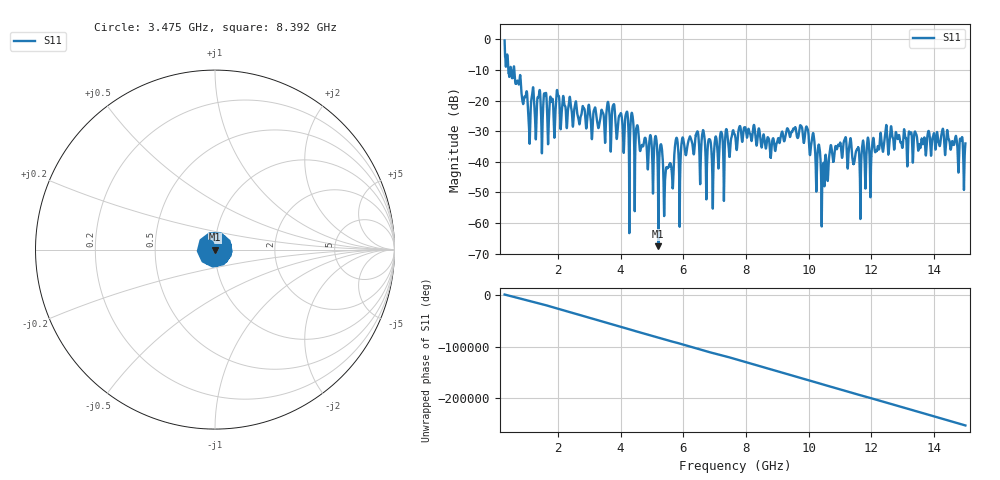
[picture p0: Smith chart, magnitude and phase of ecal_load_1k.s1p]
# GHZ S RI R 50.0
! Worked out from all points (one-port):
!   12801 points, 300 MHz to 15 GHz, reference 50 ohm
!   lowest |S11| = -67.5 dB at 5.204 GHz (marker M1), VSWR 1.00, Z = 50 - j0.0309 ohm
!   |S11| at or under -10 dB: 417.9 MHz to 482.1 MHz (64.24 MHz wide, 14.3 % of centre); 505.5 MHz to 582.4 MHz (76.94 MHz wide, 14.1 % of centre); 608.7 MHz to end of sweep
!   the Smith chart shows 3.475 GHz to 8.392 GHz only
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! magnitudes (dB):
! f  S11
! 300 MHz  -0.3
! 1.089 GHz  -32.1
! 1.197 GHz  -16.3
! 1.304 GHz  -30.8
! 1.392 GHz  -18.3
! 2.138 GHz  -21.7
! 3.975 GHz  -24.7
! 5.204 GHz  -67.5
! 5.297 GHz  -34.4
! 5.434 GHz  -43.5
! 5.812 GHz  -33.0
! 6.435 GHz  -30.3
! 6.745 GHz  -46.8
! 6.841 GHz  -32.7
! 6.939 GHz  -54.3
! 7.204 GHz  -30.2
! 7.65 GHz  -31.2
! 8.826 GHz  -34.2
! 9.488 GHz  -29.8
! 10.14 GHz  -30.6
! 10.45 GHz  -42.3
! 10.71 GHz  -34.5
! 11.32 GHz  -32.6
! 11.63 GHz  -41.5
! 12.45 GHz  -29.9
! 13.16 GHz  -38.0
! 14.26 GHz  -30.0
! 15 GHz  -34.0
